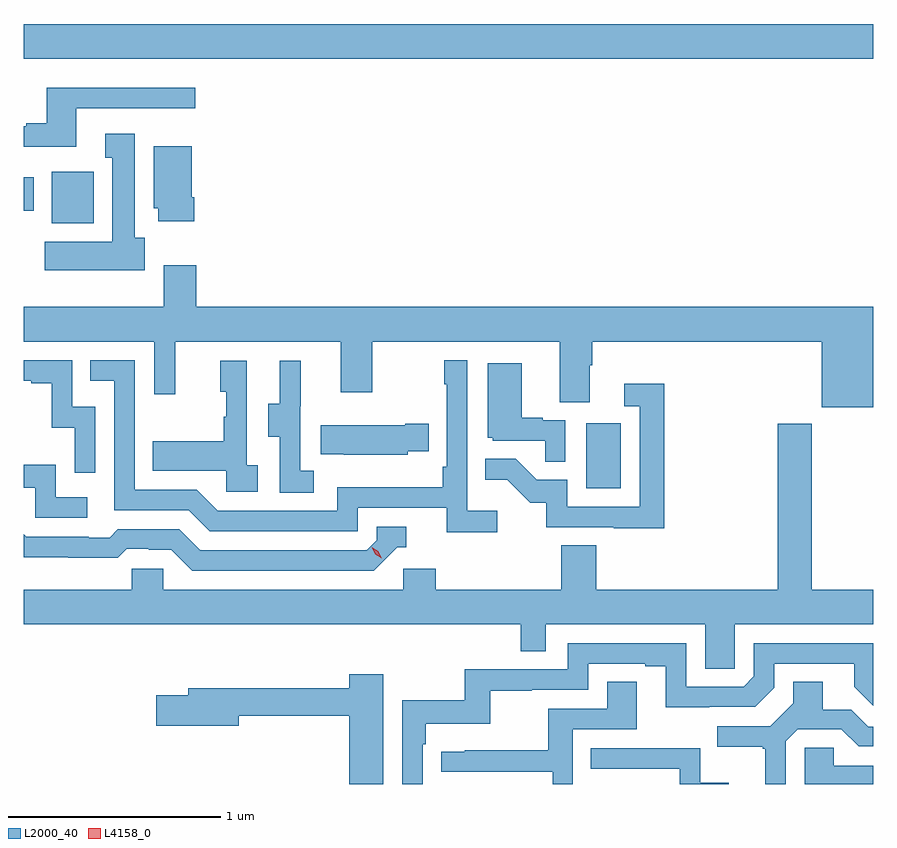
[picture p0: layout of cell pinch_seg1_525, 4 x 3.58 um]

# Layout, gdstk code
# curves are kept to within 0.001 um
import gdstk
lib = gdstk.Library(unit=1e-6, precision=1e-09)
def R(c, l, rs):  # rectangles x0, y0, x1, y1
    for r in rs: c.add(gdstk.rectangle(r[:2], r[2:], *l))
def P(c, l, *ps):  # polygons
    for p in ps: c.add(gdstk.Polygon(p, *l))
L2000_40 = (2000, 40)
L4158_0 = (4158, 0)

pinch_seg1_525 = lib.new_cell('pinch_seg1_525')
R(pinch_seg1_525, L2000_40, [(1073.12,539.052,1073.284,539.359), (1070.603,540.302,1070.8,540.544), (1070.472,540.361,1070.518,540.517), (1070.472,541.076,1074.472,541.24)])
P(pinch_seg1_525, L2000_40, [(1070.719,540.843),(1071.28,540.843),(1071.28,540.94),(1070.579,540.94),(1070.579,540.772),(1070.483,540.772),(1070.483,540.759),(1070.472,540.759),(1070.472,540.662),(1070.719,540.662)],
  [(1071.04,540.234),(1070.995,540.234),(1070.995,540.724),(1070.855,540.724),(1070.855,540.611),(1070.888,540.611),(1070.888,540.214),(1070.571,540.214),(1070.571,540.08),(1071.04,540.08)],
  [(1071.275,540.424),(1071.262,540.424),(1071.262,540.664),(1071.083,540.664),(1071.083,540.372),(1071.104,540.372),(1071.104,540.312),(1071.275,540.312)],
  [(1074.472,539.908),(1071.284,539.908),(1071.284,540.103),(1071.131,540.103),(1071.131,539.908),(1070.472,539.908),(1070.472,539.744),(1071.087,539.744),(1071.087,539.496),(1071.185,539.496),(1071.185,539.744),(1071.965,539.744),(1071.965,539.505),(1072.113,539.505),(1072.113,539.744),(1072.997,539.744),(1072.997,539.458),(1073.137,539.458),(1073.137,539.632),(1073.15,539.632),(1073.15,539.744),(1074.23,539.744),(1074.23,539.435),(1074.472,539.435)],
  [(1072.702,538.948),(1072.56,538.948),(1072.56,539.656),(1072.452,539.656),(1072.452,539.543),(1072.464,539.543),(1072.464,539.155),(1072.444,539.155),(1072.444,539.059),(1071.948,539.059),(1071.948,538.947),(1071.384,538.947),(1071.285,539.046),(1070.994,539.046),(1070.994,539.655),(1070.785,539.655),(1070.785,539.559),(1070.898,539.559),(1070.898,538.95),(1071.248,538.95),(1071.347,538.851),(1072.044,538.851),(1072.044,538.962),(1072.463,538.962),(1072.463,538.846),(1072.702,538.846)],
  [(1070.808,539.436),(1070.7,539.436),(1070.7,539.655),(1070.472,539.655),(1070.472,539.559),(1070.507,539.559),(1070.507,539.547),(1070.603,539.547),(1070.603,539.339),(1070.712,539.339),(1070.712,539.127),(1070.808,539.127)],
  [(1071.838,539.135),(1071.774,539.135),(1071.774,539.439),(1071.776,539.439),(1071.776,539.653),(1071.677,539.653),(1071.677,539.451),(1071.623,539.451),(1071.623,539.296),(1071.678,539.296),(1071.678,539.032),(1071.838,539.032)],
  [(1071.574,539.162),(1071.522,539.162),(1071.522,539.653),(1071.398,539.653),(1071.398,539.508),(1071.424,539.508),(1071.424,539.39),(1071.414,539.39),(1071.414,539.275),(1071.079,539.275),(1071.079,539.135),(1071.426,539.135),(1071.426,539.037),(1071.574,539.037)],
  [(1073.022,539.373),(1072.916,539.373),(1072.916,539.386),(1072.816,539.386),(1072.816,539.641),(1072.658,539.641),(1072.658,539.292),(1072.68,539.292),(1072.68,539.277),(1072.927,539.277),(1072.927,539.179),(1073.022,539.179)],
  [(1073.489,539.545),(1073.301,539.545),(1073.301,539.439),(1073.373,539.439),(1073.373,538.965),(1073.031,538.965),(1073.031,539.094),(1072.887,539.094),(1072.789,539.192),(1072.645,539.192),(1072.645,539.093),(1072.749,539.093),(1072.856,538.986),(1072.933,538.986),(1072.933,538.869),(1073.251,538.869),(1073.251,538.864),(1073.489,538.864)],
  [(1072.281,539.228),(1072.379,539.228),(1072.379,539.358),(1072.268,539.358),(1072.268,539.35),(1071.871,539.35),(1071.871,539.213),(1071.979,539.213),(1071.979,539.21),(1072.281,539.21)],
  [(1073.82,538.412),(1074.472,538.412),(1074.472,538.576),(1074.183,538.576),(1074.183,539.356),(1074.023,539.356),(1074.023,538.576),(1073.168,538.576),(1073.168,538.784),(1073.003,538.784),(1073.003,538.576),(1072.412,538.576),(1072.412,538.674),(1072.26,538.674),(1072.26,538.576),(1071.129,538.576),(1071.129,538.674),(1070.979,538.674),(1070.979,538.576),(1070.472,538.576),(1070.472,538.412),(1072.813,538.412),(1072.813,538.285),(1072.929,538.285),(1072.929,538.412),(1073.681,538.412),(1073.681,538.204),(1073.82,538.204)],
  [(1070.77,539.01),(1070.622,539.01),(1070.622,539.164),(1070.472,539.164),(1070.472,539.055),(1070.526,539.055),(1070.526,538.914),(1070.77,538.914)],
  [(1072.23,538.776),(1072.273,538.776),(1072.273,538.872),(1072.134,538.872),(1072.134,538.809),(1072.086,538.761),(1071.303,538.761),(1071.204,538.86),(1070.915,538.86),(1070.876,538.821),(1070.777,538.821),(1070.777,538.824),(1070.484,538.824),(1070.472,538.836),(1070.472,538.727),(1070.682,538.727),(1070.682,538.725),(1070.915,538.725),(1070.957,538.767),(1071.06,538.767),(1071.06,538.764),(1071.167,538.764),(1071.266,538.665),(1072.119,538.665)],
  [(1072.35,537.848),(1072.364,537.848),(1072.364,537.944),(1072.669,537.944),(1072.669,538.099),(1072.865,538.099),(1072.865,538.104),(1073.13,538.104),(1073.13,538.227),(1073.399,538.227),(1073.399,538.215),(1073.495,538.215),(1073.495,538.022),(1073.916,538.023),(1074.006,538.113),(1074.006,538.227),(1074.383,538.227),(1074.383,538.117),(1074.472,538.028),(1074.472,538.323),(1073.91,538.323),(1073.91,538.167),(1073.862,538.119),(1073.592,538.119),(1073.592,538.323),(1073.034,538.323),(1073.034,538.2),(1072.548,538.2),(1072.548,538.054),(1072.254,538.054),(1072.254,537.66),(1072.35,537.66)],
  [(1072.165,538.177),(1072.004,538.177),(1072.004,538.111),(1071.245,538.111),(1071.245,538.077),(1071.096,538.077),(1071.096,537.935),(1071.484,537.935),(1071.484,537.982),(1072.004,537.982),(1072.004,537.66),(1072.165,537.66)],
  [(1074.06,537.861),(1074.117,537.918),(1074.323,537.918),(1074.404,537.837),(1074.472,537.837),(1074.472,537.93),(1074.45,537.93),(1074.37,538.01),(1074.235,538.01),(1074.235,538.142),(1074.095,538.142),(1074.095,538.04),(1073.988,537.933),(1073.739,537.933),(1073.739,537.836),(1073.952,537.836),(1073.952,537.825),(1073.963,537.825),(1073.963,537.66),(1074.06,537.66)],
  [(1073.058,537.918),(1073.359,537.918),(1073.359,538.142),(1073.219,538.142),(1073.219,538.014),(1072.942,538.014),(1072.942,537.818),(1072.549,537.818),(1072.549,537.813),(1072.437,537.813),(1072.437,537.717),(1072.962,537.717),(1072.962,537.66),(1073.058,537.66)],
  [(1074.472,537.747),(1074.287,537.747),(1074.287,537.831),(1074.15,537.831),(1074.15,537.66),(1074.472,537.66)],
  [(1073.791,537.667),(1073.658,537.667),(1073.658,537.828),(1073.143,537.828),(1073.143,537.732),(1073.562,537.732),(1073.562,537.66),(1073.791,537.66)])
P(pinch_seg1_525, L4158_0, [(1072.158,538.724),(1072.127,538.743),(1072.111,538.776),(1072.111,538.776),(1072.111,538.776),(1072.142,538.757),(1072.158,538.724),(1072.158,538.724)])

lib.write_gds('pinch_seg1_525.gds')
